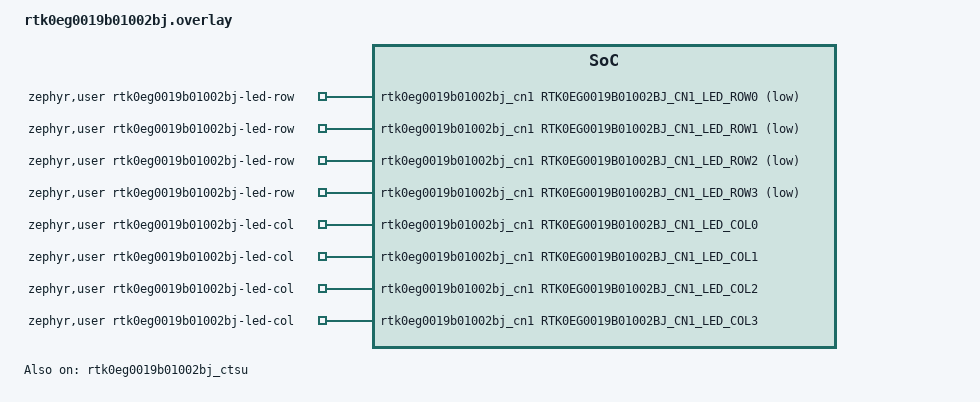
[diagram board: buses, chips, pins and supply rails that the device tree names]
/*
 * Copyright (c) 2025 Renesas Electronics Corporation
 *
 * SPDX-License-Identifier: Apache-2.0
 */

#include <zephyr/dt-bindings/input/input-event-codes.h>
#include <zephyr/dt-bindings/gpio/renesas-rtk0eg0019b01002bj.h>

/ {
	rtk0eg0019b01002bj_cn1: rtk0eg0019b01002bj-cn1 {
		gpio-map-mask = <0xffffffff 0xffffffc0>;
		gpio-map-pass-thru = <0 0x3f>;
	};

	zephyr,user {
		rtk0eg0019b01002bj-led-row-gpios =
			<&rtk0eg0019b01002bj_cn1 RTK0EG0019B01002BJ_CN1_LED_ROW0 GPIO_ACTIVE_LOW>,
			<&rtk0eg0019b01002bj_cn1 RTK0EG0019B01002BJ_CN1_LED_ROW1 GPIO_ACTIVE_LOW>,
			<&rtk0eg0019b01002bj_cn1 RTK0EG0019B01002BJ_CN1_LED_ROW2 GPIO_ACTIVE_LOW>,
			<&rtk0eg0019b01002bj_cn1 RTK0EG0019B01002BJ_CN1_LED_ROW3 GPIO_ACTIVE_LOW>;
		rtk0eg0019b01002bj-led-col-gpios =
			<&rtk0eg0019b01002bj_cn1 RTK0EG0019B01002BJ_CN1_LED_COL0 GPIO_ACTIVE_HIGH>,
			<&rtk0eg0019b01002bj_cn1 RTK0EG0019B01002BJ_CN1_LED_COL1 GPIO_ACTIVE_HIGH>,
			<&rtk0eg0019b01002bj_cn1 RTK0EG0019B01002BJ_CN1_LED_COL2 GPIO_ACTIVE_HIGH>,
			<&rtk0eg0019b01002bj_cn1 RTK0EG0019B01002BJ_CN1_LED_COL3 GPIO_ACTIVE_HIGH>;
	};
};

&rtk0eg0019b01002bj_ctsu {
	status = "okay";

	group1 {
		ctsuchac = <0x01 0x0E 0x00 0x00 0x00>;
		ctsuchtrc = <0x01 0x00 0x00 0x00 0x00>;
		rx-count = <3>;
		tx-count = <0>;
		status = "okay";

		rtk0eg0019b01002bj_bt1: button1 {
			compatible = "renesas,ra-ctsu-button";
			elements = <2>;
			event-code = <INPUT_KEY_0>;
			status = "okay";
		};

		rtk0eg0019b01002bj_bt2: button2 {
			compatible = "renesas,ra-ctsu-button";
			elements = <1>;
			event-code = <INPUT_KEY_1>;
			status = "okay";
		};

		rtk0eg0019b01002bj_bt3: button3 {
			compatible = "renesas,ra-ctsu-button";
			elements = <0>;
			event-code = <INPUT_KEY_2>;
			status = "okay";
		};
	};

	group2 {
		ctsuchac = <0xF4 0x01 0x00 0x00 0x00>;
		ctsuchtrc = <0x00 0x01 0x00 0x00 0x00>;
		rx-count = <5>;
		tx-count = <0>;
		status = "okay";

		rtk0eg0019b01002bj_slider: slider {
			compatible = "renesas,ra-ctsu-slider";
			elements = <1>, <0>, <2>, <4>, <3>;
			threshold = <703>;
			event-code = <INPUT_ABS_THROTTLE>;
			status = "okay";
		};
	};

	group3 {
		ctsuchac = <0x00 0x40 0xA4 0x00 0x01>;
		ctsuchtrc = <0x00 0x40 0x00 0x00 0x00>;
		rx-count = <4>;
		tx-count = <0>;
		status = "okay";

		rtk0eg0019b01002bj_wheel: wheel {
			compatible = "renesas,ra-ctsu-wheel";
			elements = <0>, <1>, <2>, <3>;
			event-code = <INPUT_ABS_WHEEL>;
			status = "okay";
		};
	};
};
